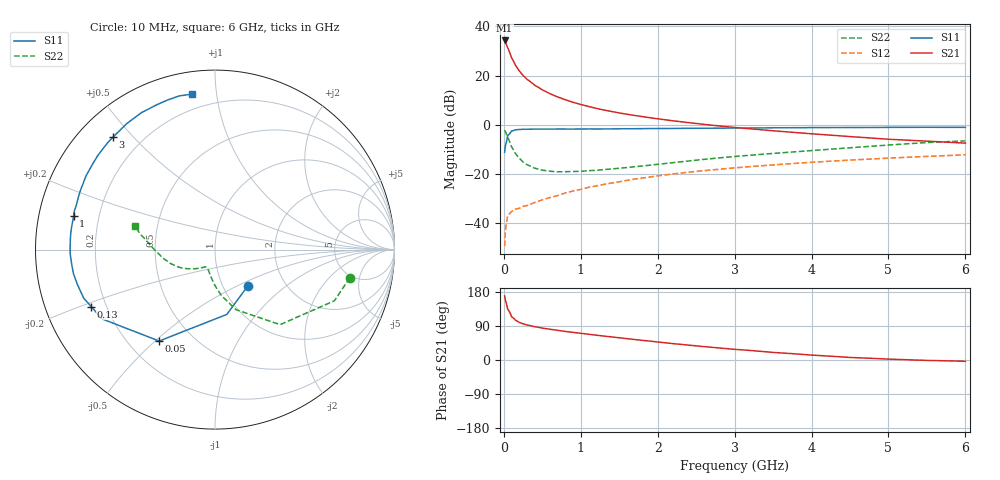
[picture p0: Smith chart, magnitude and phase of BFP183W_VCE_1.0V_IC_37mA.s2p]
! Infineon Technologies  Discrete & RF Semiconductors
! BFP183W
! VCE =  1.0 V,  IC =  37 mA
! Common Emitter S-Parameters:  Jan 2017
# GHz  S  MA  R  50
!  f  S11  S21  S12  S22
! GHz  MAG  ANG  MAG  ANG  MAG  ANG  MAG  ANG
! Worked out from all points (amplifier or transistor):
!   77 points, 10 MHz to 6 GHz, reference 50 ohm
!   highest |S21| = 34.3 dB at 10 MHz (marker M1)
!   |S21| within 3 dB of that: start of sweep to 50.46 MHz
!   unconditionally stable (mu >= 1): start of sweep to 10.78 MHz; 349.6 MHz to end of sweep
!   at 130 MHz: K = 0.53, MSG = 30.2 dB, |S12| = -34.9 dB
!   at 2.2 GHz: K = 1.36, MAG = 7.3 dB, |S12| = -20.2 dB
!   at 6 GHz: K = 1.20, MAG = -0.4 dB, |S12| = -12.3 dB
!   S11 on the Smith chart (normalised r, x): 10 MHz: 1.31, -0.57; 50 MHz: 0.33, -0.52; 130 MHz: 0.14, -0.21; 1 GHz: 0.11, +0.12; 3 GHz: 0.10, +0.44; 6 GHz: 0.12, +0.86
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0.01  0.2729 -47.8  51.89 169.2  0.0033 79.7  0.7672 -11.8
0.02  0.3671 -79.7  49.04 157.9  0.0067 69.9  0.7237 -23.2
0.05  0.5969 -121.4  36.88 134.1  0.0137 49.4  0.5538 -49.0
0.1  0.7377 -148.4  23.12 114.3  0.0168 40.6  0.3545 -70.8
0.13  0.7594 -155.3  18.96 109.6  0.018 38.8  0.2941 -76.8
0.15  0.7797 -159.6  16.29 105.2  0.0188 37.7  0.2563 -82.3
0.2  0.7914 -166.0  12.45 99.4  0.0195 37.3  0.2052 -89.3
0.25  0.8 -170.4  10.06 95.4  0.0214 39.0  0.1727 -94.5
0.3  0.8022 -173.6  8.419 92.5  0.0222 41.4  0.1522 -98.7
0.4  0.8072 -178.3  6.362 87.8  0.0256 45.8  0.129 -104.9
0.5  0.8073 178.4  5.097 84.2  0.0291 50.4  0.1173 -109.1
0.6  0.8081 175.6  4.259 81.1  0.0324 53.7  0.1114 -112.9
0.8  0.8087 170.9  3.2 75.4  0.0402 59.1  0.1091 -116.7
1  0.8096 166.7  2.565 70.4  0.0475 60.8  0.1111 -120.3
1.1  0.8129 164.7  2.336 68.0  0.0523 61.9  0.1144 -121.4
1.5  0.8177 157.3  1.724 58.7  0.068 62.3  0.128 -127.8
2.1  0.8299 146.5  1.249 45.4  0.0938 60.6  0.1604 -138.3
3  0.846 132.2  0.871 28.1  0.1306 55.2  0.223 -153.8
3.1  0.8471 130.7  0.845 26.7  0.1344 54.5  0.2294 -155.7
4.1  0.866 117.0  0.631 11.8  0.1732 47.2  0.3018 -172.7
5.1  0.8752 106.5  0.492 1.7  0.2096 39.6  0.3907 171.9
6  0.8755 98.5  0.417 -3.3  0.2415 32.5  0.4632 163.7
